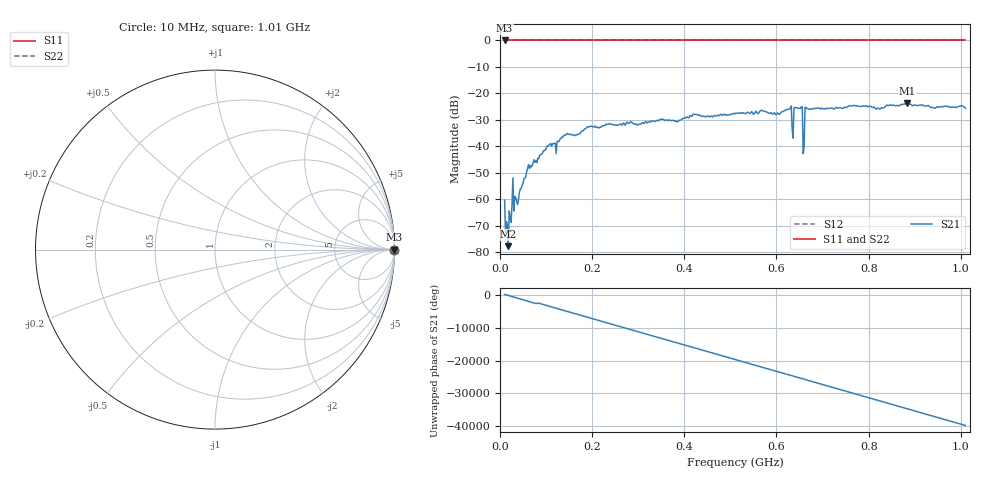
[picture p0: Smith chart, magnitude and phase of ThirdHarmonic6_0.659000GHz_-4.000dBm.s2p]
! 8/15/2025 9:53:09 PM
! C:\ANRITSUVNA\TEMP\TEMP.S2P
! CHANNEL.1
! TR.MEASUREMENT
! RAW.DATA
! RF.CORRECTION.OFF
! AVERAGING.OFF
! IF.BANDWIDTH: 5KHZ
! SWEEPTYPE:  FREQ.SWEEP(Linear)
! Reference Plane Port Info
! PORT:  PORT1  PORT2
! DISTANCE:  0  m  0  m
! TIME:  0  s  0  s
! PHASE.OFFSET:  0  deg.  0  deg.
! LOSS:  0  dB  0  dB
! REF.LOSS:  0  dB  0  dB
! REF.FREQ:  0  Hz  0  Hz
! Power Info
! POWER:  -20  dBm  -20  dBm
! EFF.POWER:  -20  dBm  -20  dBm
! SOURCE.ATTEN:  0  dB  0  dB
! TEST.ATTEN:  0  dB  0  dB
# GHZ S RI R 50.0
! FREQ.GHZ  S11RE  S11IM  S21RE  S21IM  S12RE  S12IM  S22RE  S22IM
!; PortSelection: Port_12
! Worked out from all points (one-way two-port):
!   501 points, 10 MHz to 1.01 GHz, reference 50 ohm
!   highest |S21| = -23.62 dB at 884 MHz (marker M1); lowest = -77.6 dB at 18 MHz (marker M2)
!   lowest |S11| = 0.0 dB at 10 MHz (marker M3)
!   |S11| at or under -10 dB: nowhere
!   |S22| runs from 0.0 to 0.0 dB; largest |S21 - S12| = 1.1
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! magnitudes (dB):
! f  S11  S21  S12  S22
! 10 MHz  0.0  -60.3  0.0  0.0
! 14 MHz  0.0  -68.4  0.0  0.0
! 18 MHz  0.0  -77.6  0.0  0.0
! 30 MHz  0.0  -64.4  0.0  0.0
! 40 MHz  0.0  -60.4  0.0  0.0
! 62 MHz  0.0  -46.8  0.0  0.0
! 106 MHz  0.0  -39.5  0.0  0.0
! 178 MHz  0.0  -34.2  0.0  0.0
! 344 MHz  0.0  -30.3  0.0  0.0
! 510 MHz  0.0  -27.7  0.0  0.0
! 628 MHz  0.0  -25.8  0.0  0.0
! 632 MHz  0.0  -24.7  0.0  0.0
! 638 MHz  0.0  -25.4  0.0  0.0
! 642 MHz  0.0  -25.4  0.0  0.0
! 652 MHz  0.0  -25.6  0.0  0.0
! 656 MHz  0.0  -25.1  0.0  0.0
! 662 MHz  0.0  -25.3  0.0  0.0
! 666 MHz  0.0  -25.8  0.0  0.0
! 678 MHz  0.0  -25.9  0.0  0.0
! 844 MHz  0.0  -24.5  0.0  0.0
! 884 MHz  0.0  -23.6  0.0  0.0
! 1.01 GHz  0.0  -25.6  0.0  0.0
